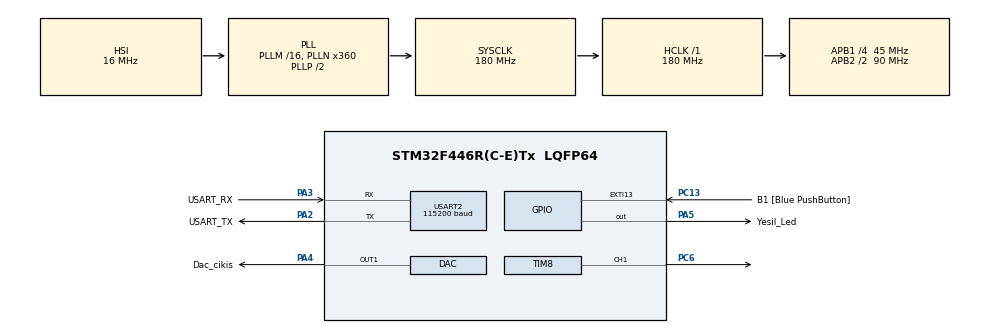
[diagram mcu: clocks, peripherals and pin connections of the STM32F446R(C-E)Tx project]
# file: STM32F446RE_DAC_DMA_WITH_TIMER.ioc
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Dma.Request0=TIM8_UP
Dma.TIM8_UP.0.Direction=DMA_MEMORY_TO_PERIPH
Dma.TIM8_UP.0.FIFOMode=DMA_FIFOMODE_DISABLE
Dma.TIM8_UP.0.Instance=DMA2_Stream1
Dma.TIM8_UP.0.MemDataAlignment=DMA_MDATAALIGN_HALFWORD
Dma.TIM8_UP.0.MemInc=DMA_MINC_ENABLE
Dma.TIM8_UP.0.Mode=DMA_CIRCULAR
Dma.TIM8_UP.0.PeriphDataAlignment=DMA_PDATAALIGN_HALFWORD
Dma.TIM8_UP.0.PeriphInc=DMA_PINC_DISABLE
Dma.TIM8_UP.0.Priority=DMA_PRIORITY_LOW
Mcu.Family=STM32F4
Mcu.Name=STM32F446R(C-E)Tx
Mcu.Package=LQFP64
Mcu.UserConstants=timer_period,1800
NVIC.DMA2_Stream1_IRQn=true\:0\:0\:false\:false\:true\:false\:true\:true
NVIC.PriorityGroup=NVIC_PRIORITYGROUP_0
PA13.GPIO_Label=TMS
PA13.Mode=Serial_Wire
PA13.Signal=SYS_JTMS-SWDIO
PA14.GPIO_Label=TCK
PA14.Mode=Serial_Wire
PA14.Signal=SYS_JTCK-SWCLK
PA2.GPIO_Label=USART_TX
PA2.Mode=Asynchronous
PA2.Signal=USART2_TX
PA3.GPIO_Label=USART_RX
PA3.Mode=Asynchronous
PA3.Signal=USART2_RX
PA4.GPIO_Label=Dac_cikis
PA4.Signal=COMP_DAC1_group
PA5.GPIO_Label=Yesil_Led
PA5.Signal=GPIO_Output
PB3.GPIO_Label=SWO
PB3.Signal=SYS_JTDO-SWO
PC13.GPIO_Label=B1 [Blue PushButton]
PC13.GPIO_ModeDefaultEXTI=GPIO_MODE_IT_FALLING
PC13.Signal=GPXTI13
PC14-OSC32_IN.Mode=LSE-External-Oscillator
PC14-OSC32_IN.Signal=RCC_OSC32_IN
PC15-OSC32_OUT.Mode=LSE-External-Oscillator
PC15-OSC32_OUT.Signal=RCC_OSC32_OUT
PC6.Signal=S_TIM8_CH1
PH0-OSC_IN.Mode=HSE-External-Oscillator
PH0-OSC_IN.Signal=RCC_OSC_IN
PH1-OSC_OUT.Mode=HSE-External-Oscillator
PH1-OSC_OUT.Signal=RCC_OSC_OUT
ProjectManager.HeapSize=0x200
ProjectManager.StackSize=0x400
ProjectManager.TargetToolchain=STM32CubeIDE
RCC.48MHZClocksFreq_Value=84000000
RCC.AHBFreq_Value=180000000
RCC.APB1CLKDivider=RCC_HCLK_DIV4
RCC.APB1Freq_Value=45000000
RCC.APB1TimFreq_Value=90000000
RCC.APB2CLKDivider=RCC_HCLK_DIV2
RCC.APB2Freq_Value=90000000
RCC.APB2TimFreq_Value=180000000
RCC.CortexFreq_Value=180000000
RCC.FLatency-AdvancedSettings=FLASH_LATENCY_5
RCC.HCLKFreq_Value=180000000
RCC.HSE_VALUE=8000000
RCC.HSI_VALUE=16000000
RCC.PLLN=360
RCC.SYSCLKFreq_VALUE=180000000
RCC.SYSCLKSource=RCC_SYSCLKSOURCE_PLLCLK
RCC.USBFreq_Value=180000000
RCC.VCOOutputFreq_Value=360000000
SH.COMP_DAC1_group.0=DAC_OUT1,DAC_OUT1
SH.S_TIM8_CH1.0=TIM8_CH1,PWM Generation1 CH1
TIM8.Channel-PWM\ Generation1\ CH1=TIM_CHANNEL_1
TIM8.Period=timer_period
TIM8.Pulse-PWM\ Generation1\ CH1=timer_period/2
USART2.BaudRate=115200
USART2.VirtualMode=VM_ASYNC
VP_TIM8_VS_ClockSourceINT.Mode=Internal
board=NUCLEO-F446RE

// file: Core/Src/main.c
/* USER CODE BEGIN Header */
/**
  ******************************************************************************
  * @file           : main.c
  * @brief          : Main program body
  ******************************************************************************
  * @attention
  *
  * Copyright (c) 2024 STMicroelectronics.
  * All rights reserved.
  *
  * This software is licensed under terms that can be found in the LICENSE file
  * in the root directory of this software component.
  * If no LICENSE file comes with this software, it is provided AS-IS.
  *
  ******************************************************************************
  */
/* USER CODE END Header */
#include "main.h"

/* USER CODE BEGIN Includes */
#include <math.h>
#include <stdio.h>
#include <stdlib.h>
#include <string.h>
/* USER CODE END Includes */

DAC_HandleTypeDef hdac;

TIM_HandleTypeDef htim8;
DMA_HandleTypeDef hdma_tim8_up;

UART_HandleTypeDef huart2;

void SystemClock_Config(void);
static void MX_GPIO_Init(void);
static void MX_DMA_Init(void);
static void MX_USART2_UART_Init(void);
static void MX_DAC_Init(void);
static void MX_TIM8_Init(void);
/* USER CODE BEGIN PFP */
#define PUTCHAR_PROTOTYPE int __io_putchar(int ch)
#define win_len	25
/* USER CODE END PFP */

/* USER CODE BEGIN 0 */
PUTCHAR_PROTOTYPE
{
  /* Place your implementation of fputc here */
  /* e.g. write a character to the USART2 and Loop until the end of transmission */
  HAL_UART_Transmit(&huart2, (uint8_t *)&ch, 1, 0xFFFF);
  return ch;
}

/* USER CODE END 0 */

int main(void)
{

  /* MCU Configuration--------------------------------------------------------*/

  /* Reset of all peripherals, Initializes the Flash interface and the Systick. */
  HAL_Init();

  /* Configure the system clock */
  SystemClock_Config();

  /* Initialize all configured peripherals */
  MX_GPIO_Init();
  MX_DMA_Init();
  MX_USART2_UART_Init();
  MX_DAC_Init();
  MX_TIM8_Init();
  /* USER CODE BEGIN 2 */
  uint32_t ramp_or_sine 	= 0;  // == 0  is ramp , == 1 is sine
  //-----
  uint32_t index_count 		= 0;
  uint32_t window_len		= win_len;
  uint16_t data[win_len]	={0};
  uint16_t data_idx_val 	= 0;
  //------------ INTIIAL MEMORY WRITE
  double sin_val,x,y;
  y = window_len;
  while (index_count < window_len ){
  	  //data[index_count] = i;
  	  x = index_count;
  	  if (ramp_or_sine){
  		  sin_val 			= (2047 * sin((x / y) * 2.0 * M_PI)) + 2048.0;
  		  data_idx_val		= (uint16_t)sin_val;

  	  }
  	  else {
  		  data_idx_val = (uint16_t)( x * (4096/y));
  	  }
  	  if (data_idx_val>4095){
  		  data_idx_val = 4095;
  	  }
  	  // -- write to mem
  	  data[index_count] = data_idx_val;
  	  index_count +=1;

   }
  ///------- DAC START
  HAL_DAC_Start(&hdac, DAC_CHANNEL_1);
  HAL_DAC_SetValue(&hdac, DAC_CHANNEL_1,DAC_ALIGN_12B_R, 2048);
  HAL_DMA_Start(&hdma_tim8_up, (uint32_t)&data[0], (uint32_t)&(DAC->DHR12R1), window_len);

  TIM8->DIER |= TIM_DIER_UDE;
  HAL_TIM_Base_Start(&htim8);
  HAL_TIM_PWM_Start(&htim8, TIM_CHANNEL_1);
  /* USER CODE END 2 */

  /* Infinite loop */
  while (1)
  {

  }
}

void SystemClock_Config(void)
{
  RCC_OscInitTypeDef RCC_OscInitStruct = {0};
  RCC_ClkInitTypeDef RCC_ClkInitStruct = {0};

  /** Configure the main internal regulator output voltage
  */
  __HAL_RCC_PWR_CLK_ENABLE();
  __HAL_PWR_VOLTAGESCALING_CONFIG(PWR_REGULATOR_VOLTAGE_SCALE1);

  /** Initializes the RCC Oscillators according to the specified parameters
  * in the RCC_OscInitTypeDef structure.
  */
  RCC_OscInitStruct.OscillatorType = RCC_OSCILLATORTYPE_HSI;
  RCC_OscInitStruct.HSIState = RCC_HSI_ON;
  RCC_OscInitStruct.HSICalibrationValue = RCC_HSICALIBRATION_DEFAULT;
  RCC_OscInitStruct.PLL.PLLState = RCC_PLL_ON;
  RCC_OscInitStruct.PLL.PLLSource = RCC_PLLSOURCE_HSI;
  RCC_OscInitStruct.PLL.PLLM = 16;
  RCC_OscInitStruct.PLL.PLLN = 360;
  RCC_OscInitStruct.PLL.PLLP = RCC_PLLP_DIV2;
  RCC_OscInitStruct.PLL.PLLQ = 2;
  RCC_OscInitStruct.PLL.PLLR = 2;
  if (HAL_RCC_OscConfig(&RCC_OscInitStruct) != HAL_OK)
  {
    Error_Handler();
  }

  /** Activate the Over-Drive mode
  */
  if (HAL_PWREx_EnableOverDrive() != HAL_OK)
  {
    Error_Handler();
  }

  /** Initializes the CPU, AHB and APB buses clocks
  */
  RCC_ClkInitStruct.ClockType = RCC_CLOCKTYPE_HCLK|RCC_CLOCKTYPE_SYSCLK
                              |RCC_CLOCKTYPE_PCLK1|RCC_CLOCKTYPE_PCLK2;
  RCC_ClkInitStruct.SYSCLKSource = RCC_SYSCLKSOURCE_PLLCLK;
  RCC_ClkInitStruct.AHBCLKDivider = RCC_SYSCLK_DIV1;
  RCC_ClkInitStruct.APB1CLKDivider = RCC_HCLK_DIV4;
  RCC_ClkInitStruct.APB2CLKDivider = RCC_HCLK_DIV2;

  if (HAL_RCC_ClockConfig(&RCC_ClkInitStruct, FLASH_LATENCY_5) != HAL_OK)
  {
    Error_Handler();
  }
}

static void MX_DAC_Init(void)
{

  DAC_ChannelConfTypeDef sConfig = {0};

  /** DAC Initialization
  */
  hdac.Instance = DAC;
  if (HAL_DAC_Init(&hdac) != HAL_OK)
  {
    Error_Handler();
  }

  /** DAC channel OUT1 config
  */
  sConfig.DAC_Trigger = DAC_TRIGGER_NONE;
  sConfig.DAC_OutputBuffer = DAC_OUTPUTBUFFER_ENABLE;
  if (HAL_DAC_ConfigChannel(&hdac, &sConfig, DAC_CHANNEL_1) != HAL_OK)
  {
    Error_Handler();
  }

}

static void MX_TIM8_Init(void)
{

  TIM_ClockConfigTypeDef sClockSourceConfig = {0};
  TIM_MasterConfigTypeDef sMasterConfig = {0};
  TIM_OC_InitTypeDef sConfigOC = {0};
  TIM_BreakDeadTimeConfigTypeDef sBreakDeadTimeConfig = {0};

  htim8.Instance = TIM8;
  htim8.Init.Prescaler = 0;
  htim8.Init.CounterMode = TIM_COUNTERMODE_UP;
  htim8.Init.Period = timer_period;
  htim8.Init.ClockDivision = TIM_CLOCKDIVISION_DIV1;
  htim8.Init.RepetitionCounter = 0;
  htim8.Init.AutoReloadPreload = TIM_AUTORELOAD_PRELOAD_DISABLE;
  if (HAL_TIM_Base_Init(&htim8) != HAL_OK)
  {
    Error_Handler();
  }
  sClockSourceConfig.ClockSource = TIM_CLOCKSOURCE_INTERNAL;
  if (HAL_TIM_ConfigClockSource(&htim8, &sClockSourceConfig) != HAL_OK)
  {
    Error_Handler();
  }
  if (HAL_TIM_PWM_Init(&htim8) != HAL_OK)
  {
    Error_Handler();
  }
  sMasterConfig.MasterOutputTrigger = TIM_TRGO_RESET;
  sMasterConfig.MasterSlaveMode = TIM_MASTERSLAVEMODE_DISABLE;
  if (HAL_TIMEx_MasterConfigSynchronization(&htim8, &sMasterConfig) != HAL_OK)
  {
    Error_Handler();
  }
  sConfigOC.OCMode = TIM_OCMODE_PWM1;
  sConfigOC.Pulse = timer_period/2;
  sConfigOC.OCPolarity = TIM_OCPOLARITY_HIGH;
  sConfigOC.OCNPolarity = TIM_OCNPOLARITY_HIGH;
  sConfigOC.OCFastMode = TIM_OCFAST_DISABLE;
  sConfigOC.OCIdleState = TIM_OCIDLESTATE_RESET;
  sConfigOC.OCNIdleState = TIM_OCNIDLESTATE_RESET;
  if (HAL_TIM_PWM_ConfigChannel(&htim8, &sConfigOC, TIM_CHANNEL_1) != HAL_OK)
  {
    Error_Handler();
  }
  sBreakDeadTimeConfig.OffStateRunMode = TIM_OSSR_DISABLE;
  sBreakDeadTimeConfig.OffStateIDLEMode = TIM_OSSI_DISABLE;
  sBreakDeadTimeConfig.LockLevel = TIM_LOCKLEVEL_OFF;
  sBreakDeadTimeConfig.DeadTime = 0;
  sBreakDeadTimeConfig.BreakState = TIM_BREAK_DISABLE;
  sBreakDeadTimeConfig.BreakPolarity = TIM_BREAKPOLARITY_HIGH;
  sBreakDeadTimeConfig.AutomaticOutput = TIM_AUTOMATICOUTPUT_DISABLE;
  if (HAL_TIMEx_ConfigBreakDeadTime(&htim8, &sBreakDeadTimeConfig) != HAL_OK)
  {
    Error_Handler();
  }
  HAL_TIM_MspPostInit(&htim8);

}

static void MX_USART2_UART_Init(void)
{

  huart2.Instance = USART2;
  huart2.Init.BaudRate = 115200;
  huart2.Init.WordLength = UART_WORDLENGTH_8B;
  huart2.Init.StopBits = UART_STOPBITS_1;
  huart2.Init.Parity = UART_PARITY_NONE;
  huart2.Init.Mode = UART_MODE_TX_RX;
  huart2.Init.HwFlowCtl = UART_HWCONTROL_NONE;
  huart2.Init.OverSampling = UART_OVERSAMPLING_16;
  if (HAL_UART_Init(&huart2) != HAL_OK)
  {
    Error_Handler();
  }

}

static void MX_DMA_Init(void)
{

  /* DMA controller clock enable */
  __HAL_RCC_DMA2_CLK_ENABLE();

  /* DMA interrupt init */
  /* DMA2_Stream1_IRQn interrupt configuration */
  HAL_NVIC_SetPriority(DMA2_Stream1_IRQn, 0, 0);
  HAL_NVIC_EnableIRQ(DMA2_Stream1_IRQn);

}

static void MX_GPIO_Init(void)
{
  GPIO_InitTypeDef GPIO_InitStruct = {0};

  /* GPIO Ports Clock Enable */
  __HAL_RCC_GPIOC_CLK_ENABLE();
  __HAL_RCC_GPIOH_CLK_ENABLE();
  __HAL_RCC_GPIOA_CLK_ENABLE();
  __HAL_RCC_GPIOB_CLK_ENABLE();

  /*Configure GPIO pin Output Level */
  HAL_GPIO_WritePin(Yesil_Led_GPIO_Port, Yesil_Led_Pin, GPIO_PIN_RESET);

  /*Configure GPIO pin : B1_Pin */
  GPIO_InitStruct.Pin = B1_Pin;
  GPIO_InitStruct.Mode = GPIO_MODE_IT_FALLING;
  GPIO_InitStruct.Pull = GPIO_NOPULL;
  HAL_GPIO_Init(B1_GPIO_Port, &GPIO_InitStruct);

  /*Configure GPIO pin : Yesil_Led_Pin */
  GPIO_InitStruct.Pin = Yesil_Led_Pin;
  GPIO_InitStruct.Mode = GPIO_MODE_OUTPUT_PP;
  GPIO_InitStruct.Pull = GPIO_NOPULL;
  GPIO_InitStruct.Speed = GPIO_SPEED_FREQ_LOW;
  HAL_GPIO_Init(Yesil_Led_GPIO_Port, &GPIO_InitStruct);

}

void Error_Handler(void)
{
  __disable_irq();
  while (1)
  {
  }
}
